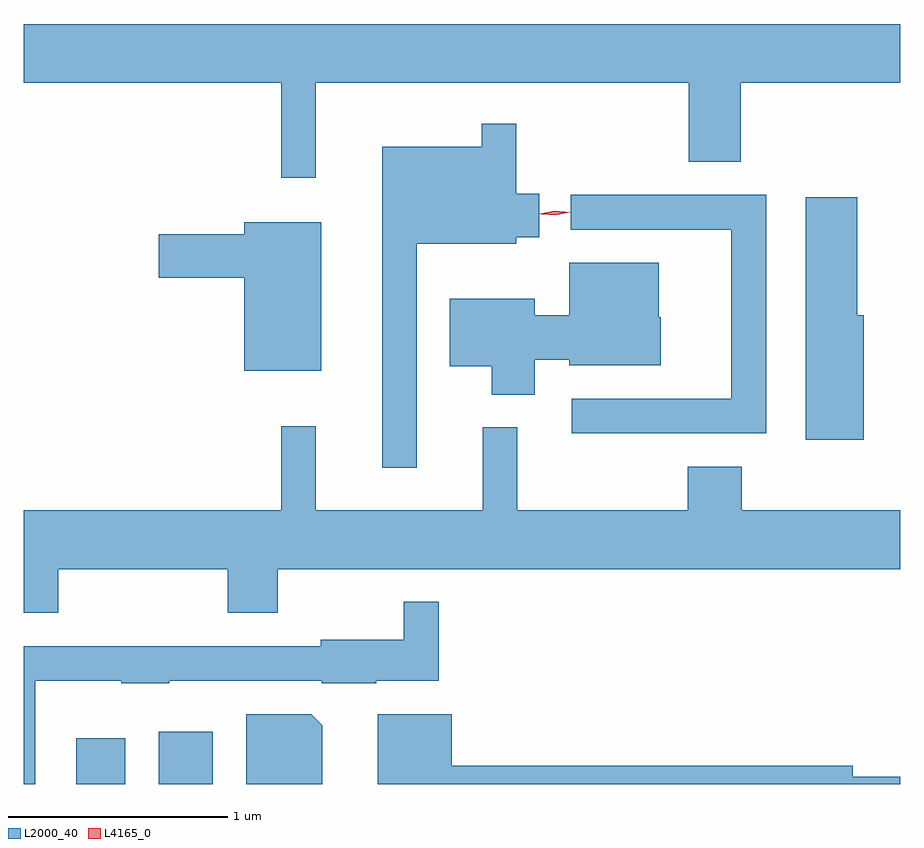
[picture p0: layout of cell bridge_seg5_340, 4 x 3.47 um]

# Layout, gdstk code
import gdstk
lib = gdstk.Library(unit=1e-6, precision=1e-09)
def R(c, l, rs):  # rectangles x0, y0, x1, y1
    for r in rs: c.add(gdstk.rectangle(r[:2], r[2:], *l))
def P(c, l, *ps):  # polygons
    for p in ps: c.add(gdstk.Polygon(p, *l))
L2000_40 = (2000, 40)
L4165_0 = (4165, 0)

bridge_seg5_340 = lib.new_cell('bridge_seg5_340')
R(bridge_seg5_340, L2000_40, [(943.051,1449.155,943.274,1449.364), (943.426,1449.155,943.674,1449.394)])
P(bridge_seg5_340, L2000_40, [(944.144,1452.356),(945.846,1452.356),(945.846,1451.996),(946.084,1451.996),(946.084,1452.356),(946.811,1452.356),(946.811,1452.624),(942.811,1452.624),(942.811,1452.356),(943.986,1452.356),(943.986,1451.923),(944.144,1451.923)],
  [(944.604,1451.621),(945.059,1451.621),(945.059,1451.651),(945.164,1451.651),(945.164,1451.849),(945.059,1451.849),(945.059,1452.168),(944.901,1452.168),(944.901,1452.064),(944.446,1452.064),(944.446,1450.598),(944.604,1450.598)],
  [(946.199,1451.844),(945.308,1451.844),(945.308,1451.686),(946.041,1451.686),(946.041,1450.914),(945.313,1450.914),(945.313,1450.756),(946.199,1450.756)],
  [(946.644,1451.294),(946.614,1451.294),(946.614,1451.834),(946.381,1451.834),(946.381,1450.726),(946.644,1450.726)],
  [(944.169,1451.719),(943.816,1451.719),(943.816,1451.664),(943.426,1451.664),(943.426,1451.466),(943.816,1451.466),(943.816,1451.041),(944.169,1451.041)],
  [(945.144,1451.091),(945.301,1451.091),(945.301,1451.066),(945.719,1451.066),(945.719,1451.285),(945.709,1451.285),(945.709,1451.534),(945.301,1451.534),(945.301,1451.294),(945.144,1451.294),(945.144,1451.369),(944.756,1451.369),(944.756,1451.061),(944.946,1451.061),(944.946,1450.931),(945.144,1450.931)],
  [(942.811,1449.936),(942.969,1449.936),(942.969,1450.136),(943.741,1450.136),(943.741,1449.936),(943.969,1449.936),(943.969,1450.136),(946.811,1450.136),(946.811,1450.404),(946.089,1450.404),(946.089,1450.604),(945.841,1450.604),(945.841,1450.404),(945.064,1450.404),(945.064,1450.783),(944.906,1450.783),(944.906,1450.404),(944.144,1450.404),(944.144,1450.788),(943.986,1450.788),(943.986,1450.404),(942.811,1450.404)],
  [(942.864,1449.626),(943.255,1449.626),(943.255,1449.616),(943.475,1449.616),(943.475,1449.626),(944.17,1449.626),(944.17,1449.616),(944.42,1449.616),(944.42,1449.626),(944.704,1449.626),(944.704,1449.988),(944.546,1449.988),(944.546,1449.814),(944.166,1449.814),(944.166,1449.784),(942.811,1449.784),(942.811,1449.155),(942.864,1449.155)],
  [(946.811,1449.189),(946.594,1449.189),(946.594,1449.239),(944.764,1449.239),(944.764,1449.474),(944.426,1449.474),(944.426,1449.155),(946.811,1449.155)],
  [(944.174,1449.424),(944.124,1449.474),(943.826,1449.474),(943.826,1449.155),(944.174,1449.155)])
P(bridge_seg5_340, L4165_0, [(945.236,1451.752),(945.167,1451.758),(945.167,1451.759),(945.167,1451.759),(945.235,1451.772),(945.304,1451.765),(945.305,1451.765),(945.304,1451.764)],
  [(945.237,1451.751),(945.172,1451.756),(945.171,1451.757),(945.172,1451.757),(945.236,1451.77),(945.301,1451.765),(945.302,1451.764),(945.301,1451.764)])

lib.write_gds('bridge_seg5_340.gds')
